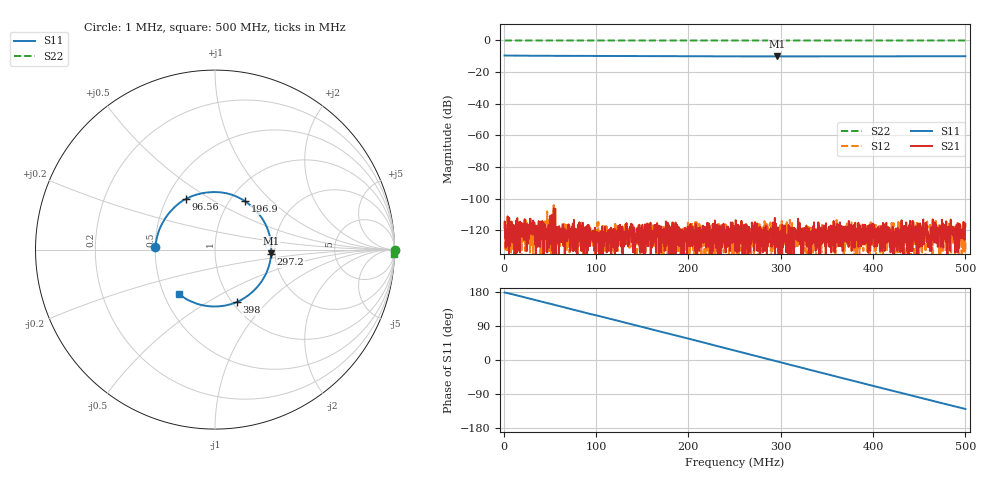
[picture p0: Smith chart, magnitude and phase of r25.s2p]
! MS46122B
! 1746301/73750021
! 11/3/2023 2:21:32 PM
! C:\USERS\SPEGWAL\DOWNLOADS\SAURABH\REACH\NODES\FRONT END\MEASUREMENTS\MEASURED S-PARAMETERS_03-11-2023\MS3-MS4_MS1_CABLE\25OHMS_SOURCE_S11.S2P
! CHANNEL.1
! TR.MEASUREMENT
! CORRECTED.DATA
# GHZ S RI R 50.0
! FREQ.GHZ  S11RE  S11IM  S21RE  S21IM  S12RE  S12IM  S22RE  S22IM
!; PortSelection: Port_12
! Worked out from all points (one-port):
!   2001 points, 1 MHz to 500 MHz, reference 50 ohm
!   lowest |S11| = -10.1 dB at 295.9 MHz (marker M1), VSWR 1.91, Z = 95.4 - j4.2 ohm
!   |S11| at or under -10 dB: 205.4 MHz to 395.1 MHz (189.6 MHz wide, 63.2 % of centre)
!   S11 on the Smith chart (normalised r, x): 1 MHz: 0.50, +0.01; 96.56 MHz: 0.62, +0.39; 196.9 MHz: 1.17, +0.70; 297.2 MHz: 1.91, -0.10; 398 MHz: 1.05, -0.68; 500 MHz: 0.60, -0.33
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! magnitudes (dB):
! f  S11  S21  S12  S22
! 1 MHz  -9.5  -118.3  -114.2  0.0
! 9.982 MHz  -9.6  -117.6  -126.0  0.0
! 40.17 MHz  -9.7  -117.3  -120.0  0.0
! 63.13 MHz  -9.7  -121.0  -118.0  0.0
! 84.33 MHz  -9.7  -125.4  -130.5  0.0
! 90.57 MHz  -9.7  -118.0  -123.9  0.0
! 96.56 MHz  -9.7  -126.0  -131.0  0.0
! 133 MHz  -9.9  -115.4  -128.0  0.0
! 167.4 MHz  -9.9  -119.2  -122.4  0.0
! 179.4 MHz  -9.9  -120.7  -125.4  0.0
! 196.9 MHz  -10.0  -121.4  -126.0  0.0
! 219.3 MHz  -10.0  -124.7  -137.0  0.0
! 250.5 MHz  -10.0  -121.4  -134.0  0.0
! 295.9 MHz  -10.1  -126.0  -119.0  0.0
! 297.2 MHz  -10.1  -118.2  -120.9  0.0
! 333.8 MHz  -10.0  -120.9  -127.4  0.0
! 361 MHz  -10.0  -116.2  -130.5  0.0
! 398 MHz  -10.0  -121.4  -126.0  0.0
! 416.9 MHz  -10.0  -127.0  -124.0  0.0
! 436.9 MHz  -10.0  -133.0  -131.0  0.0
! 483.8 MHz  -9.9  -121.4  -133.0  0.0
! 500 MHz  -9.9  -117.4  -125.4  0.0
